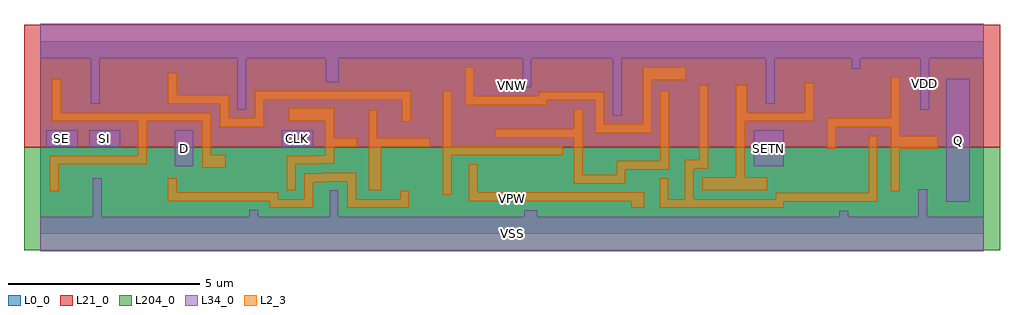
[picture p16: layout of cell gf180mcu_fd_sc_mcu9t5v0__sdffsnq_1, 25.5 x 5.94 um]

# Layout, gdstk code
import gdstk
lib = gdstk.Library(unit=1e-6, precision=1e-09)
def R(c, l, rs):  # rectangles x0, y0, x1, y1
    for r in rs: c.add(gdstk.rectangle(r[:2], r[2:], *l))
L0_0 = (0, 0)
L2_3 = (2, 3)
L21_0 = (21, 0)
L34_0 = (34, 0)
L204_0 = (204, 0)

gf180mcu_fd_sc_mcu9t5v0_ = lib.new_cell('gf180mcu_fd_sc_mcu9t5v0__sdffsnq_1')
R(gf180mcu_fd_sc_mcu9t5v0_, L0_0, [(0,0,24.64,5.04)])
R(gf180mcu_fd_sc_mcu9t5v0_, L2_3, [(5.985,0.68,7.125,0.86), (8.015,0.68,9.625,0.91), (15.44,0.68,15.78,0.855), (16.175,0.68,19.425,0.84), (16.175,0.84,21.865,0.91), (11.195,0.855,15.78,1.085), (3.325,0.86,7.125,0.91), (3.325,0.91,6.21,1.09), (6.895,0.91,7.125,1.355), (8.015,0.91,8.245,1.37), (9.395,0.91,9.625,1.135), (16.175,0.91,16.405,1.45), (16.835,0.91,17.065,1.71), (19.205,0.91,21.865,1.07), (10.515,1.025,10.745,2.055), (21.635,1.07,21.865,2.56), (11.195,1.085,11.425,1.825), (3.325,1.09,3.555,1.45), (0.245,1.11,0.475,1.815), (22.215,1.11,22.445,2.22), (6.435,1.14,6.665,1.815), (8.575,1.14,8.905,2.275), (17.295,1.14,18.985,1.48), (13.935,1.315,15.285,1.545), (6.895,1.355,7.47,1.37), (6.895,1.37,8.245,1.585), (18.17,1.48,18.4,2.94), (13.935,1.545,14.165,2.515), (15.055,1.545,15.285,1.68), (7.385,1.585,8.245,1.6), (15.055,1.68,16.425,1.91), (16.835,1.71,17.445,1.94), (4.225,1.73,4.835,2.07), (0.245,1.815,2.775,2.045), (6.435,1.815,7.3,1.83), (6.435,1.83,7.675,2.045), (16.195,1.91,16.425,3.73), (17.215,1.94,17.445,3.9), (2.545,2.045,2.775,2.94), (7.215,2.045,7.675,2.06), (10.515,2.055,13.64,2.285), (7.445,2.06,7.675,2.275), (4.225,2.07,4.455,2.94), (20.555,2.22,20.785,2.79), (22.215,2.22,23.44,2.56), (7.445,2.275,8.28,2.505), (8.575,2.275,10.17,2.505), (10.515,2.285,10.745,3.73), (7.445,2.505,7.675,2.94), (8.575,2.505,8.805,3.235), (11.88,2.515,14.165,2.745), (22.215,2.56,22.445,2.79), (14.495,2.63,15.965,2.86), (13.935,2.745,14.165,3.26), (4.685,2.79,5.835,3.02), (20.555,2.79,22.445,3.02), (14.495,2.86,14.725,3.49), (15.735,2.86,15.965,4.02), (9.445,2.93,9.675,3.51), (0.295,2.94,4.455,3.17), (6.485,2.94,7.675,3.28), (18.17,2.94,20.205,3.17), (4.685,3.02,4.915,3.4), (5.605,3.02,5.835,3.51), (22.215,3.02,22.445,4.1), (0.295,3.17,0.525,4.06), (18.17,3.17,18.465,3.9), (19.975,3.17,20.205,3.95), (11.095,3.375,13.225,3.49), (3.325,3.4,4.915,3.63), (11.095,3.49,14.725,3.605), (5.605,3.51,9.675,3.74), (11.095,3.605,11.325,4.36), (13.025,3.605,14.725,3.72), (3.325,3.63,3.555,4.21), (15.735,4.02,16.865,4.36)])
R(gf180mcu_fd_sc_mcu9t5v0_, L21_0, [(-0.43,2.265,25.07,5.47)])
R(gf180mcu_fd_sc_mcu9t5v0_, L34_0, [(0,-0.45,24.64,0.45), (1.365,0.45,1.595,1.45), (5.455,0.45,5.685,0.63), (7.555,0.45,7.785,1.14), (12.64,0.45,12.98,0.625), (20.875,0.45,21.105,0.61), (22.935,0.45,23.165,1.165), (23.67,0.845,24.285,4.06), (3.51,1.77,3.995,2.71), (18.63,1.77,19.425,2.71), (0.15,2.275,0.97,2.71), (1.27,2.275,2.09,2.71), (6.31,2.275,7.13,2.71), (14.955,3.09,15.185,4.59), (5.145,3.25,5.375,4.59), (22.985,3.25,23.215,4.59), (1.315,3.4,1.545,4.59), (18.955,3.4,19.185,4.59), (12.595,3.835,12.825,4.59), (7.45,3.97,7.79,4.59), (21.195,4.31,21.425,4.59), (0,4.59,24.64,5.49)])
R(gf180mcu_fd_sc_mcu9t5v0_, L204_0, [(-0.43,-0.43,25.07,2.265)])
gf180mcu_fd_sc_mcu9t5v0_.add(gdstk.Label('D', (3.752,2.24), layer=34, texttype=10))
gf180mcu_fd_sc_mcu9t5v0_.add(gdstk.Label('SE', (0.56,2.492), layer=34, texttype=10))
gf180mcu_fd_sc_mcu9t5v0_.add(gdstk.Label('SETN', (19.027,2.24), layer=34, texttype=10))
gf180mcu_fd_sc_mcu9t5v0_.add(gdstk.Label('SI', (1.68,2.492), layer=34, texttype=10))
gf180mcu_fd_sc_mcu9t5v0_.add(gdstk.Label('CLK', (6.72,2.492), layer=34, texttype=10))
gf180mcu_fd_sc_mcu9t5v0_.add(gdstk.Label('Q', (23.977,2.452), layer=34, texttype=10))
gf180mcu_fd_sc_mcu9t5v0_.add(gdstk.Label('VDD', (23.1,3.92), layer=34, texttype=10))
gf180mcu_fd_sc_mcu9t5v0_.add(gdstk.Label('VSS', (12.32,0), layer=34, texttype=10))
gf180mcu_fd_sc_mcu9t5v0_.add(gdstk.Label('VNW', (12.32,3.867), layer=3, texttype=1))
gf180mcu_fd_sc_mcu9t5v0_.add(gdstk.Label('VPW', (12.32,0.917), layer=4, texttype=1))

lib.write_gds('gf180mcu_fd_sc_mcu9t5v0__sdffsnq_1.gds')
